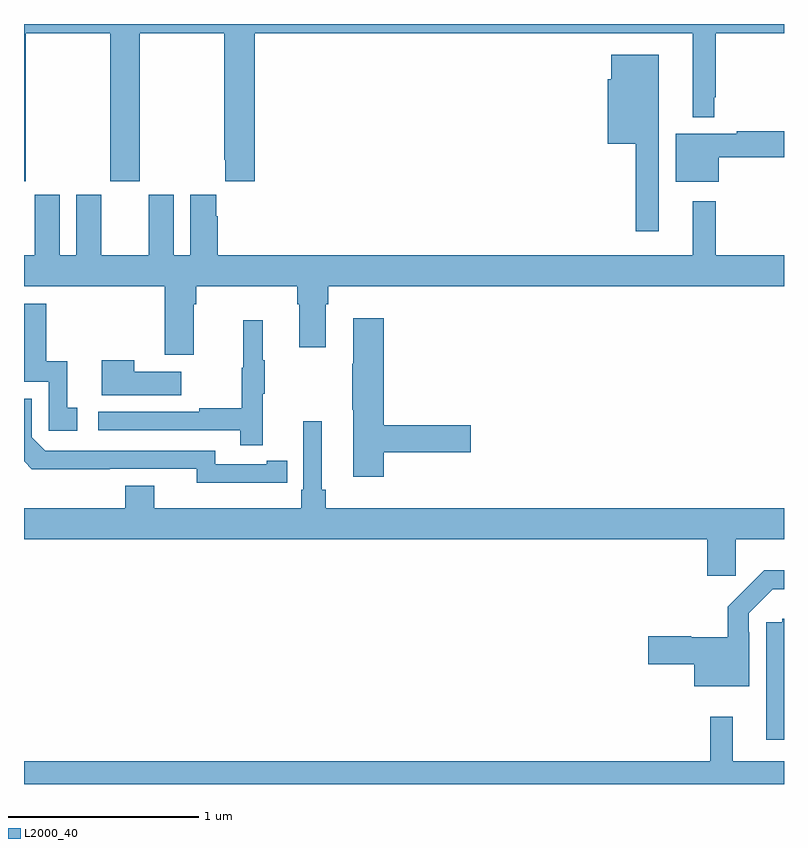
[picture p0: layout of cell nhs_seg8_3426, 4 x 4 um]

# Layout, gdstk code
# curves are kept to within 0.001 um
import gdstk
lib = gdstk.Library(unit=1e-6, precision=1e-09)
def P(c, l, *ps):  # polygons
    for p in ps: c.add(gdstk.Polygon(p, *l))
L2000_40 = (2000, 40)

nhs_seg8_3426 = lib.new_cell('nhs_seg8_3426')
P(nhs_seg8_3426, L2000_40, [(323.01,1097.852),(323.455,1097.852),(323.455,1097.073),(323.61,1097.073),(323.61,1097.852),(324.055,1097.852),(324.055,1097.185),(324.059,1097.185),(324.059,1097.073),(324.215,1097.073),(324.215,1097.852),(326.519,1097.852),(326.519,1097.408),(326.634,1097.408),(326.634,1097.515),(326.641,1097.515),(326.641,1097.852),(327,1097.852),(327,1097.9),(323,1097.9),(323,1097.073),(323.01,1097.073)],
  [(326.341,1097.737),(326.09,1097.737),(326.09,1097.61),(326.072,1097.61),(326.072,1097.27),(326.22,1097.27),(326.22,1096.809),(326.341,1096.809)],
  [(326.656,1097.2),(327,1097.2),(327,1097.336),(326.752,1097.336),(326.752,1097.323),(326.429,1097.323),(326.429,1097.069),(326.656,1097.069)],
  [(323.893,1096.424),(323.906,1096.424),(323.906,1096.52),(324.437,1096.52),(324.437,1096.424),(324.449,1096.424),(324.449,1096.2),(324.589,1096.2),(324.589,1096.424),(324.602,1096.424),(324.602,1096.52),(327,1096.52),(327,1096.684),(326.641,1096.684),(326.641,1096.966),(326.519,1096.966),(326.519,1096.684),(324.02,1096.684),(324.02,1096.889),(324.013,1096.889),(324.013,1097.002),(323.876,1097.002),(323.876,1096.684),(323.788,1096.684),(323.788,1097.002),(323.657,1097.002),(323.657,1096.684),(323.407,1096.684),(323.407,1097.002),(323.276,1097.002),(323.276,1096.684),(323.188,1096.684),(323.188,1097.002),(323.057,1097.002),(323.057,1096.684),(323,1096.684),(323,1096.52),(323.741,1096.52),(323.741,1096.158),(323.893,1096.158)],
  [(323.281,1095.879),(323.228,1095.879),(323.228,1096.126),(323.117,1096.126),(323.117,1096.428),(323,1096.428),(323,1096.332),(323.001,1096.332),(323.001,1096.017),(323.13,1096.017),(323.13,1095.759),(323.281,1095.759)],
  [(324.893,1095.646),(325.351,1095.646),(325.351,1095.788),(324.893,1095.788),(324.893,1096.351),(324.734,1096.351),(324.734,1096.112),(324.727,1096.112),(324.727,1095.871),(324.734,1095.871),(324.734,1095.516),(324.893,1095.516)],
  [(324.257,1095.955),(324.268,1095.955),(324.268,1096.129),(324.257,1096.129),(324.257,1096.342),(324.154,1096.342),(324.154,1096.092),(324.147,1096.092),(324.147,1095.878),(323.923,1095.878),(323.923,1095.858),(323.391,1095.858),(323.391,1095.762),(324.139,1095.762),(324.139,1095.684),(324.257,1095.684)],
  [(323.827,1096.069),(323.579,1096.069),(323.579,1096.129),(323.408,1096.129),(323.408,1095.947),(323.827,1095.947)],
  [(324.278,1095.486),(324.386,1095.486),(324.386,1095.602),(324.278,1095.602),(324.278,1095.582),(324.006,1095.582),(324.006,1095.654),(323.112,1095.654),(323.04,1095.726),(323.04,1095.927),(323,1095.927),(323,1095.599),(323.042,1095.557),(323.91,1095.558),(323.91,1095.485)],
  [(326.747,1095.188),(327,1095.188),(327,1095.352),(324.587,1095.352),(324.587,1095.448),(324.568,1095.448),(324.568,1095.808),(324.471,1095.808),(324.471,1095.448),(324.458,1095.448),(324.458,1095.352),(323.686,1095.352),(323.686,1095.469),(323.534,1095.469),(323.534,1095.352),(323,1095.352),(323,1095.188),(326.597,1095.188),(326.597,1094.997),(326.747,1094.997)],
  [(326.817,1094.699),(326.814,1094.699),(326.814,1094.799),(326.94,1094.925),(327,1094.925),(327,1095.025),(326.896,1095.025),(326.705,1094.834),(326.705,1094.673),(326.511,1094.673),(326.511,1094.678),(326.286,1094.678),(326.286,1094.531),(326.528,1094.531),(326.528,1094.414),(326.817,1094.414)],
  [(327,1094.77),(326.991,1094.77),(326.991,1094.751),(326.907,1094.751),(326.907,1094.133),(327,1094.133)],
  [(327,1094.02),(326.729,1094.02),(326.729,1094.254),(326.611,1094.254),(326.611,1094.02),(323,1094.02),(323,1093.9),(327,1093.9)])

lib.write_gds('nhs_seg8_3426.gds')
